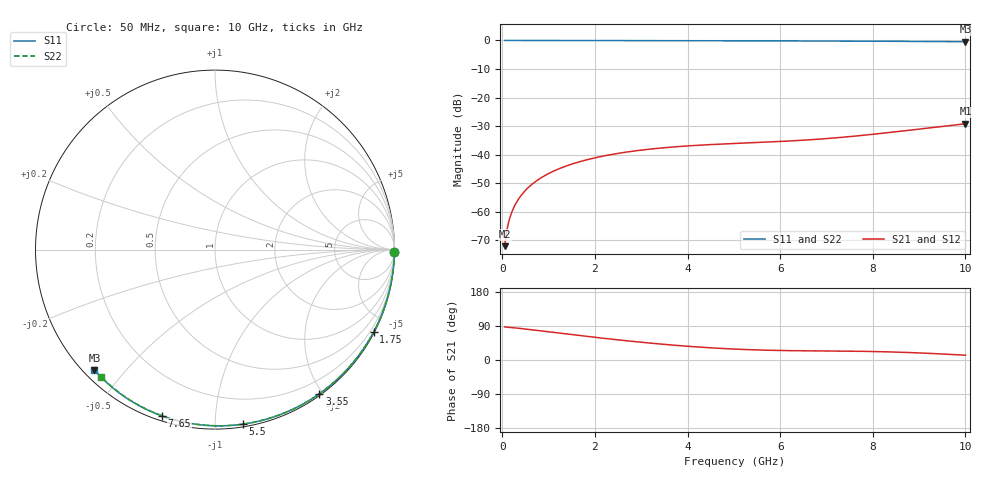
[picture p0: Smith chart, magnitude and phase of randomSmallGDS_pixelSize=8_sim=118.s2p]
! freq	dB(S11)	phase(S11)	dB(S12)	phase(S12)
!  dB(S21)	phase(S21)	dB(S22)	phase(S22)
!S-par simulation data
#  GHz  S  DB  R 50
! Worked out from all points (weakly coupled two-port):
!   200 points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, 50 MHz to 10 GHz, reference 50 ohm
!   highest |S21| = -29.18 dB at 10 GHz (marker M1); lowest = -72.0 dB at 50 MHz (marker M2)
!   lowest |S11| = -0.4 dB at 10 GHz (marker M3), VSWR 38.84, Z = 1.51 - j20.7 ohm
!   |S11| at or under -10 dB: nowhere
!   |S22| runs from -0.4 to 0.0 dB; largest |S21 - S12| = 0
!   S11 on the Smith chart (normalised r, x): 50 MHz: open; 1.75 GHz: 0.04, -4.11; 3.55 GHz: 0.02, -1.96; 5.5 GHz: 0.02, -1.17; 7.65 GHz: 0.02, -0.73; 10 GHz: 0.03, -0.41
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0.05  -0.00 -0.8  -72.05 87.4  -72.05 87.4  -0.00 -0.8
0.1  -0.00 -1.6  -66.22 86.6  -66.22 86.6  -0.00 -1.5
0.15  -0.00 -2.4  -62.80 86.1  -62.80 86.1  -0.00 -2.3
0.2  -0.00 -3.2  -60.35 85.6  -60.35 85.6  -0.00 -3.1
0.25  -0.00 -4.0  -58.44 85.0  -58.44 85.0  -0.00 -3.9
0.35  -0.00 -5.6  -55.55 83.8  -55.55 83.8  -0.00 -5.4
0.5  -0.01 -7.9  -52.49 81.7  -52.49 81.7  -0.01 -7.7
0.7  -0.01 -11.1  -49.62 78.8  -49.62 78.8  -0.01 -10.8
1  -0.02 -15.8  -46.61 74.3  -46.61 74.3  -0.02 -15.3
1.35  -0.03 -21.2  -44.15 69.1  -44.15 69.1  -0.03 -20.6
1.75  -0.03 -27.3  -42.11 63.4  -42.11 63.4  -0.03 -26.6
2.5  -0.05 -38.7  -39.55 53.1  -39.55 53.1  -0.05 -37.7
3.4  -0.07 -51.9  -37.71 42.3  -37.71 42.3  -0.07 -50.6
3.55  -0.07 -54.1  -37.49 40.7  -37.49 40.7  -0.07 -52.7
4.3  -0.09 -64.7  -36.64 33.7  -36.64 33.7  -0.09 -63.0
5.05  -0.11 -74.9  -36.05 28.6  -36.05 28.6  -0.11 -73.0
5.5  -0.13 -80.9  -35.75 26.6  -35.75 26.6  -0.13 -78.8
6.7  -0.18 -96.2  -34.72 24.1  -34.72 24.1  -0.18 -93.8
7.65  -0.24 -107.8  -33.44 23.1  -33.44 23.1  -0.23 -105.1
8.35  -0.29 -116.0  -32.25 21.4  -32.25 21.4  -0.28 -113.2
9.2  -0.37 -125.9  -30.67 17.6  -30.67 17.6  -0.36 -122.9
10  -0.45 -135.0  -29.18 12.7  -29.18 12.7  -0.44 -131.8
